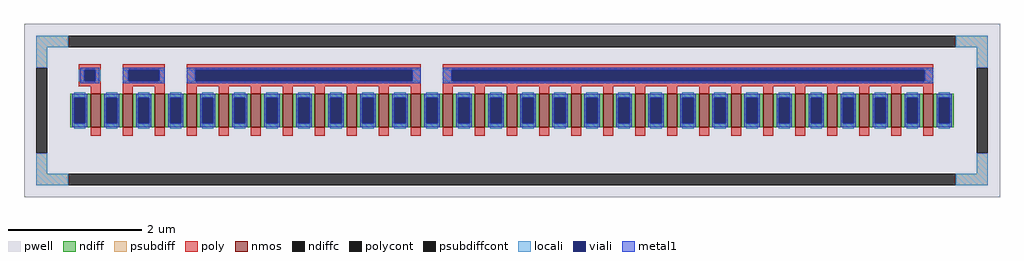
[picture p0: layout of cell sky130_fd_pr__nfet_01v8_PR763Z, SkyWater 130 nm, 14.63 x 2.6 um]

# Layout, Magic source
magic
tech sky130A
magscale 1 2
<< pwell >>
rect -1463 -260 1463 260
<< nmos >>
rect -1263 -50 -1233 50
rect -1167 -50 -1137 50
rect -1071 -50 -1041 50
rect -975 -50 -945 50
rect -879 -50 -849 50
rect -783 -50 -753 50
rect -687 -50 -657 50
rect -591 -50 -561 50
rect -495 -50 -465 50
rect -399 -50 -369 50
rect -303 -50 -273 50
rect -207 -50 -177 50
rect -111 -50 -81 50
rect -15 -50 15 50
rect 81 -50 111 50
rect 177 -50 207 50
rect 273 -50 303 50
rect 369 -50 399 50
rect 465 -50 495 50
rect 561 -50 591 50
rect 657 -50 687 50
rect 753 -50 783 50
rect 849 -50 879 50
rect 945 -50 975 50
rect 1041 -50 1071 50
rect 1137 -50 1167 50
rect 1233 -50 1263 50
<< ndiff >>
rect -1325 38 -1263 50
rect -1325 -38 -1313 38
rect -1279 -38 -1263 38
rect -1325 -50 -1263 -38
rect -1233 38 -1167 50
rect -1233 -38 -1217 38
rect -1183 -38 -1167 38
rect -1233 -50 -1167 -38
rect -1137 38 -1071 50
rect -1137 -38 -1121 38
rect -1087 -38 -1071 38
rect -1137 -50 -1071 -38
rect -1041 38 -975 50
rect -1041 -38 -1025 38
rect -991 -38 -975 38
rect -1041 -50 -975 -38
rect -945 38 -879 50
rect -945 -38 -929 38
rect -895 -38 -879 38
rect -945 -50 -879 -38
rect -849 38 -783 50
rect -849 -38 -833 38
rect -799 -38 -783 38
rect -849 -50 -783 -38
rect -753 38 -687 50
rect -753 -38 -737 38
rect -703 -38 -687 38
rect -753 -50 -687 -38
rect -657 38 -591 50
rect -657 -38 -641 38
rect -607 -38 -591 38
rect -657 -50 -591 -38
rect -561 38 -495 50
rect -561 -38 -545 38
rect -511 -38 -495 38
rect -561 -50 -495 -38
rect -465 38 -399 50
rect -465 -38 -449 38
rect -415 -38 -399 38
rect -465 -50 -399 -38
rect -369 38 -303 50
rect -369 -38 -353 38
rect -319 -38 -303 38
rect -369 -50 -303 -38
rect -273 38 -207 50
rect -273 -38 -257 38
rect -223 -38 -207 38
rect -273 -50 -207 -38
rect -177 38 -111 50
rect -177 -38 -161 38
rect -127 -38 -111 38
rect -177 -50 -111 -38
rect -81 38 -15 50
rect -81 -38 -65 38
rect -31 -38 -15 38
rect -81 -50 -15 -38
rect 15 38 81 50
rect 15 -38 31 38
rect 65 -38 81 38
rect 15 -50 81 -38
rect 111 38 177 50
rect 111 -38 127 38
rect 161 -38 177 38
rect 111 -50 177 -38
rect 207 38 273 50
rect 207 -38 223 38
rect 257 -38 273 38
rect 207 -50 273 -38
rect 303 38 369 50
rect 303 -38 319 38
rect 353 -38 369 38
rect 303 -50 369 -38
rect 399 38 465 50
rect 399 -38 415 38
rect 449 -38 465 38
rect 399 -50 465 -38
rect 495 38 561 50
rect 495 -38 511 38
rect 545 -38 561 38
rect 495 -50 561 -38
rect 591 38 657 50
rect 591 -38 607 38
rect 641 -38 657 38
rect 591 -50 657 -38
rect 687 38 753 50
rect 687 -38 703 38
rect 737 -38 753 38
rect 687 -50 753 -38
rect 783 38 849 50
rect 783 -38 799 38
rect 833 -38 849 38
rect 783 -50 849 -38
rect 879 38 945 50
rect 879 -38 895 38
rect 929 -38 945 38
rect 879 -50 945 -38
rect 975 38 1041 50
rect 975 -38 991 38
rect 1025 -38 1041 38
rect 975 -50 1041 -38
rect 1071 38 1137 50
rect 1071 -38 1087 38
rect 1121 -38 1137 38
rect 1071 -50 1137 -38
rect 1167 38 1233 50
rect 1167 -38 1183 38
rect 1217 -38 1233 38
rect 1167 -50 1233 -38
rect 1263 38 1325 50
rect 1263 -38 1279 38
rect 1313 -38 1325 38
rect 1263 -50 1325 -38
<< ndiffc >>
rect -1313 -38 -1279 38
rect -1217 -38 -1183 38
rect -1121 -38 -1087 38
rect -1025 -38 -991 38
rect -929 -38 -895 38
rect -833 -38 -799 38
rect -737 -38 -703 38
rect -641 -38 -607 38
rect -545 -38 -511 38
rect -449 -38 -415 38
rect -353 -38 -319 38
rect -257 -38 -223 38
rect -161 -38 -127 38
rect -65 -38 -31 38
rect 31 -38 65 38
rect 127 -38 161 38
rect 223 -38 257 38
rect 319 -38 353 38
rect 415 -38 449 38
rect 511 -38 545 38
rect 607 -38 641 38
rect 703 -38 737 38
rect 799 -38 833 38
rect 895 -38 929 38
rect 991 -38 1025 38
rect 1087 -38 1121 38
rect 1183 -38 1217 38
rect 1279 -38 1313 38
<< psubdiff >>
rect -1427 190 -1331 224
rect 1331 190 1427 224
rect -1427 128 -1393 190
rect 1393 128 1427 190
rect -1427 -190 -1393 -128
rect 1393 -190 1427 -128
rect -1427 -224 -1331 -190
rect 1331 -224 1427 -190
<< psubdiffcont >>
rect -1331 190 1331 224
rect -1427 -128 -1393 128
rect 1393 -128 1427 128
rect -1331 -224 1331 -190
<< poly >>
rect -1299 122 -1233 138
rect -1299 88 -1283 122
rect -1249 88 -1233 122
rect -1299 72 -1233 88
rect -1263 50 -1233 72
rect -1167 122 -1041 138
rect -1167 88 -1150 122
rect -1057 88 -1041 122
rect -1167 72 -1041 88
rect -1167 50 -1137 72
rect -1071 50 -1041 72
rect -975 122 -273 138
rect -975 88 -949 122
rect -299 88 -273 122
rect -975 72 -273 88
rect -975 50 -945 72
rect -879 50 -849 72
rect -783 50 -753 72
rect -687 50 -657 72
rect -591 50 -561 72
rect -495 50 -465 72
rect -399 50 -369 72
rect -303 50 -273 72
rect -207 122 1263 138
rect -207 88 -181 122
rect 1237 88 1263 122
rect -207 72 1263 88
rect -207 50 -177 72
rect -111 50 -81 72
rect -15 50 15 72
rect 81 50 111 72
rect 177 50 207 72
rect 273 50 303 72
rect 369 50 399 72
rect 465 50 495 72
rect 561 50 591 72
rect 657 50 687 72
rect 753 50 783 72
rect 849 50 879 72
rect 945 50 975 72
rect 1041 50 1071 72
rect 1137 50 1167 72
rect 1233 50 1263 72
rect -1263 -76 -1233 -50
rect -1167 -76 -1137 -50
rect -1071 -76 -1041 -50
rect -975 -76 -945 -50
rect -879 -76 -849 -50
rect -783 -76 -753 -50
rect -687 -76 -657 -50
rect -591 -76 -561 -50
rect -495 -76 -465 -50
rect -399 -76 -369 -50
rect -303 -76 -273 -50
rect -207 -76 -177 -50
rect -111 -76 -81 -50
rect -15 -76 15 -50
rect 81 -76 111 -50
rect 177 -76 207 -50
rect 273 -76 303 -50
rect 369 -76 399 -50
rect 465 -76 495 -50
rect 561 -76 591 -50
rect 657 -76 687 -50
rect 753 -76 783 -50
rect 849 -76 879 -50
rect 945 -76 975 -50
rect 1041 -76 1071 -50
rect 1137 -76 1167 -50
rect 1233 -76 1263 -50
<< polycont >>
rect -1283 88 -1249 122
rect -1150 88 -1057 122
rect -949 88 -299 122
rect -181 88 1237 122
<< locali >>
rect -1427 190 -1331 224
rect 1331 190 1427 224
rect -1427 128 -1393 190
rect 1393 128 1427 190
rect -1299 88 -1283 122
rect -1249 88 -1233 122
rect -1167 88 -1150 122
rect -1057 88 -1041 122
rect -975 88 -949 122
rect -299 88 -273 122
rect -207 88 -181 122
rect 1237 88 1263 122
rect -1313 38 -1279 54
rect -1313 -54 -1279 -38
rect -1217 38 -1183 54
rect -1217 -54 -1183 -38
rect -1121 38 -1087 54
rect -1121 -54 -1087 -38
rect -1025 38 -991 54
rect -1025 -54 -991 -38
rect -929 38 -895 54
rect -929 -54 -895 -38
rect -833 38 -799 54
rect -833 -54 -799 -38
rect -737 38 -703 54
rect -737 -54 -703 -38
rect -641 38 -607 54
rect -641 -54 -607 -38
rect -545 38 -511 54
rect -545 -54 -511 -38
rect -449 38 -415 54
rect -449 -54 -415 -38
rect -353 38 -319 54
rect -353 -54 -319 -38
rect -257 38 -223 54
rect -257 -54 -223 -38
rect -161 38 -127 54
rect -161 -54 -127 -38
rect -65 38 -31 54
rect -65 -54 -31 -38
rect 31 38 65 54
rect 31 -54 65 -38
rect 127 38 161 54
rect 127 -54 161 -38
rect 223 38 257 54
rect 223 -54 257 -38
rect 319 38 353 54
rect 319 -54 353 -38
rect 415 38 449 54
rect 415 -54 449 -38
rect 511 38 545 54
rect 511 -54 545 -38
rect 607 38 641 54
rect 607 -54 641 -38
rect 703 38 737 54
rect 703 -54 737 -38
rect 799 38 833 54
rect 799 -54 833 -38
rect 895 38 929 54
rect 895 -54 929 -38
rect 991 38 1025 54
rect 991 -54 1025 -38
rect 1087 38 1121 54
rect 1087 -54 1121 -38
rect 1183 38 1217 54
rect 1183 -54 1217 -38
rect 1279 38 1313 54
rect 1279 -54 1313 -38
rect -1427 -190 -1393 -128
rect 1393 -190 1427 -128
rect -1427 -224 -1331 -190
rect 1331 -224 1427 -190
<< viali >>
rect -1283 88 -1249 122
rect -1150 88 -1057 122
rect -949 88 -299 122
rect -181 88 1237 122
rect -1313 -38 -1279 38
rect -1217 -38 -1183 38
rect -1121 -38 -1087 38
rect -1025 -38 -991 38
rect -929 -38 -895 38
rect -833 -38 -799 38
rect -737 -38 -703 38
rect -641 -38 -607 38
rect -545 -38 -511 38
rect -449 -38 -415 38
rect -353 -38 -319 38
rect -257 -38 -223 38
rect -161 -38 -127 38
rect -65 -38 -31 38
rect 31 -38 65 38
rect 127 -38 161 38
rect 223 -38 257 38
rect 319 -38 353 38
rect 415 -38 449 38
rect 511 -38 545 38
rect 607 -38 641 38
rect 703 -38 737 38
rect 799 -38 833 38
rect 895 -38 929 38
rect 991 -38 1025 38
rect 1087 -38 1121 38
rect 1183 -38 1217 38
rect 1279 -38 1313 38
<< metal1 >>
rect -1295 122 -1237 128
rect -1295 88 -1283 122
rect -1249 88 -1237 122
rect -1295 82 -1237 88
rect -1167 122 -1041 128
rect -1167 88 -1150 122
rect -1057 88 -1041 122
rect -1167 82 -1041 88
rect -975 122 -273 128
rect -975 88 -949 122
rect -299 88 -273 122
rect -975 82 -273 88
rect -207 122 1263 128
rect -207 88 -181 122
rect 1237 88 1263 122
rect -207 82 1263 88
rect -1319 38 -1273 50
rect -1319 -38 -1313 38
rect -1279 -38 -1273 38
rect -1319 -50 -1273 -38
rect -1223 38 -1177 50
rect -1223 -38 -1217 38
rect -1183 -38 -1177 38
rect -1223 -50 -1177 -38
rect -1127 38 -1081 50
rect -1127 -38 -1121 38
rect -1087 -38 -1081 38
rect -1127 -50 -1081 -38
rect -1031 38 -985 50
rect -1031 -38 -1025 38
rect -991 -38 -985 38
rect -1031 -50 -985 -38
rect -935 38 -889 50
rect -935 -38 -929 38
rect -895 -38 -889 38
rect -935 -50 -889 -38
rect -839 38 -793 50
rect -839 -38 -833 38
rect -799 -38 -793 38
rect -839 -50 -793 -38
rect -743 38 -697 50
rect -743 -38 -737 38
rect -703 -38 -697 38
rect -743 -50 -697 -38
rect -647 38 -601 50
rect -647 -38 -641 38
rect -607 -38 -601 38
rect -647 -50 -601 -38
rect -551 38 -505 50
rect -551 -38 -545 38
rect -511 -38 -505 38
rect -551 -50 -505 -38
rect -455 38 -409 50
rect -455 -38 -449 38
rect -415 -38 -409 38
rect -455 -50 -409 -38
rect -359 38 -313 50
rect -359 -38 -353 38
rect -319 -38 -313 38
rect -359 -50 -313 -38
rect -263 38 -217 50
rect -263 -38 -257 38
rect -223 -38 -217 38
rect -263 -50 -217 -38
rect -167 38 -121 50
rect -167 -38 -161 38
rect -127 -38 -121 38
rect -167 -50 -121 -38
rect -71 38 -25 50
rect -71 -38 -65 38
rect -31 -38 -25 38
rect -71 -50 -25 -38
rect 25 38 71 50
rect 25 -38 31 38
rect 65 -38 71 38
rect 25 -50 71 -38
rect 121 38 167 50
rect 121 -38 127 38
rect 161 -38 167 38
rect 121 -50 167 -38
rect 217 38 263 50
rect 217 -38 223 38
rect 257 -38 263 38
rect 217 -50 263 -38
rect 313 38 359 50
rect 313 -38 319 38
rect 353 -38 359 38
rect 313 -50 359 -38
rect 409 38 455 50
rect 409 -38 415 38
rect 449 -38 455 38
rect 409 -50 455 -38
rect 505 38 551 50
rect 505 -38 511 38
rect 545 -38 551 38
rect 505 -50 551 -38
rect 601 38 647 50
rect 601 -38 607 38
rect 641 -38 647 38
rect 601 -50 647 -38
rect 697 38 743 50
rect 697 -38 703 38
rect 737 -38 743 38
rect 697 -50 743 -38
rect 793 38 839 50
rect 793 -38 799 38
rect 833 -38 839 38
rect 793 -50 839 -38
rect 889 38 935 50
rect 889 -38 895 38
rect 929 -38 935 38
rect 889 -50 935 -38
rect 985 38 1031 50
rect 985 -38 991 38
rect 1025 -38 1031 38
rect 985 -50 1031 -38
rect 1081 38 1127 50
rect 1081 -38 1087 38
rect 1121 -38 1127 38
rect 1081 -50 1127 -38
rect 1177 38 1223 50
rect 1177 -38 1183 38
rect 1217 -38 1223 38
rect 1177 -50 1223 -38
rect 1273 38 1319 50
rect 1273 -38 1279 38
rect 1313 -38 1319 38
rect 1273 -50 1319 -38
<< properties >>
string FIXED_BBOX -1410 -207 1410 207
string gencell sky130_fd_pr__nfet_01v8
string library sky130
string parameters w 0.5 l 0.15 m 1 nf 27 diffcov 100 polycov 100 guard 1 glc 1 grc 1 gtc 1 gbc 1 tbcov 100 rlcov 100 topc 1 botc 1 poverlap 0 doverlap 1 lmin 0.15 wmin 0.42 compatible {sky130_fd_pr__nfet_01v8 sky130_fd_pr__nfet_01v8_lvt  sky130_fd_bs_flash__special_sonosfet_star  sky130_fd_pr__nfet_g5v0d10v5 sky130_fd_pr__nfet_05v0_nvt  sky130_fd_pr__nfet_03v3_nvt} full_metal 1 viasrc 100 viadrn 100 viagate 100 viagb 0 viagr 0 viagl 0 viagt 0
<< end >>
